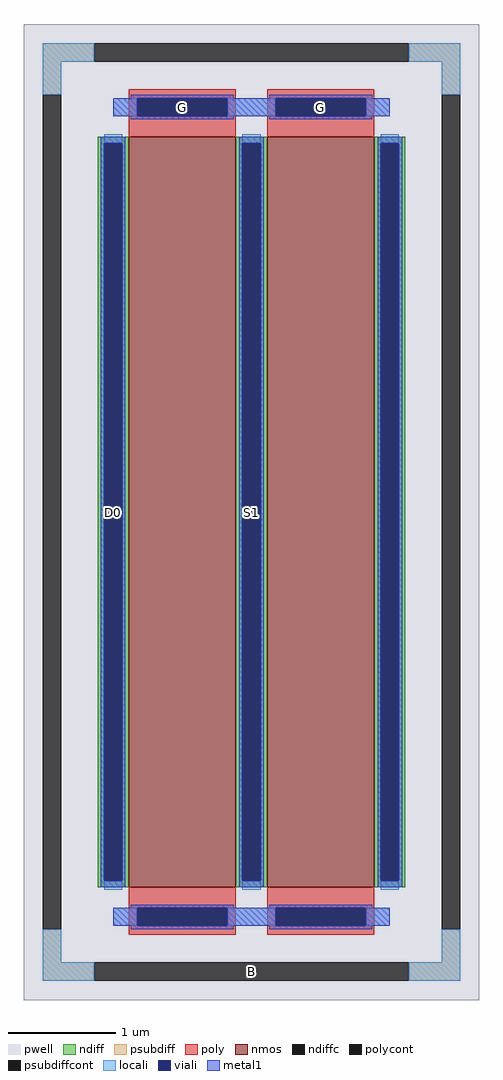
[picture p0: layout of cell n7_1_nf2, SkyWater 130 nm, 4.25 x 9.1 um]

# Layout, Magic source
magic
tech sky130A
magscale 1 2
<< pwell >>
rect -425 -910 425 910
<< nmos >>
rect -229 -700 -29 700
rect 29 -700 229 700
<< ndiff >>
rect -287 688 -229 700
rect -287 -688 -275 688
rect -241 -688 -229 688
rect -287 -700 -229 -688
rect -29 688 29 700
rect -29 -688 -17 688
rect 17 -688 29 688
rect -29 -700 29 -688
rect 229 688 287 700
rect 229 -688 241 688
rect 275 -688 287 688
rect 229 -700 287 -688
<< ndiffc >>
rect -275 -688 -241 688
rect -17 -688 17 688
rect 241 -688 275 688
<< psubdiff >>
rect -389 840 -293 874
rect 293 840 389 874
rect -389 778 -355 840
rect 355 778 389 840
rect -389 -840 -355 -778
rect 355 -840 389 -778
rect -389 -874 -293 -840
rect 293 -874 389 -840
<< psubdiffcont >>
rect -293 840 293 874
rect -389 -778 -355 778
rect 355 -778 389 778
rect -293 -874 293 -840
<< poly >>
rect -229 772 -29 788
rect -229 738 -213 772
rect -45 738 -29 772
rect -229 700 -29 738
rect 29 772 229 788
rect 29 738 45 772
rect 213 738 229 772
rect 29 700 229 738
rect -229 -738 -29 -700
rect -229 -772 -213 -738
rect -45 -772 -29 -738
rect -229 -788 -29 -772
rect 29 -738 229 -700
rect 29 -772 45 -738
rect 213 -772 229 -738
rect 29 -788 229 -772
<< polycont >>
rect -213 738 -45 772
rect 45 738 213 772
rect -213 -772 -45 -738
rect 45 -772 213 -738
<< locali >>
rect -389 840 -293 874
rect 293 840 389 874
rect -389 778 -355 840
rect 355 778 389 840
rect -258 738 -213 772
rect -45 738 45 772
rect 213 738 258 772
rect -275 688 -241 704
rect -275 -704 -241 -688
rect -17 688 17 704
rect -17 -704 17 -688
rect 241 688 275 704
rect 241 -704 275 -688
rect -258 -772 -213 -738
rect -45 -772 45 -738
rect 213 -772 258 -738
rect -389 -840 -355 -778
rect 355 -840 389 -778
rect -389 -874 -293 -840
rect 293 -874 389 -840
<< viali >>
rect -213 738 -45 772
rect 45 738 213 772
rect -275 -688 -241 688
rect -17 -688 17 688
rect 241 -688 275 688
rect -213 -772 -45 -738
rect 45 -772 213 -738
<< metal1 >>
rect -225 772 -33 778
rect 33 772 225 778
rect -258 738 -213 772
rect -45 738 45 772
rect 213 738 258 772
rect -225 732 -33 738
rect 33 732 225 738
rect -281 688 -235 700
rect -281 -688 -275 688
rect -241 -688 -235 688
rect -281 -700 -235 -688
rect -23 688 23 700
rect -23 -688 -17 688
rect 17 -688 23 688
rect -23 -700 23 -688
rect 235 688 281 700
rect 235 -688 241 688
rect 275 -688 281 688
rect 235 -700 281 -688
rect -225 -738 -33 -732
rect 33 -738 225 -732
rect -258 -772 -213 -738
rect -45 -772 45 -738
rect 213 -772 258 -738
rect -225 -778 -33 -772
rect 33 -778 225 -772
<< labels >>
rlabel psubdiffcont 0 -857 0 -857 0 B
port 1 nsew
rlabel ndiffc -258 0 -258 0 0 D0
port 2 nsew
rlabel polycont -129 755 -129 755 0 G
port 3 nsew
rlabel ndiffc 0 0 0 0 0 S1
port 4 nsew
rlabel polycont 129 755 129 755 0 G
port 3 nsew
<< properties >>
string FIXED_BBOX -372 -857 372 857
string gencell sky130_fd_pr__nfet_01v8
string library sky130
string parameters w 7 l 1 m 1 nf 2 diffcov 100 polycov 100 guard 1 glc 1 grc 1 gtc 1 gbc 1 tbcov 100 rlcov 100 topc 1 botc 1 poverlap 0 doverlap 1 lmin 0.15 wmin 0.42 class mosfet compatible {sky130_fd_pr__nfet_01v8 sky130_fd_pr__nfet_01v8_lvt  sky130_fd_bs_flash__special_sonosfet_star  sky130_fd_pr__nfet_g5v0d10v5 sky130_fd_pr__nfet_05v0_nvt  sky130_fd_pr__nfet_03v3_nvt} full_metal 1 conn_gates 1 viasrc 100 viadrn 100 viagate 100 viagb 0 viagr 0 viagl 0 viagt 0 doports 1
<< end >>
